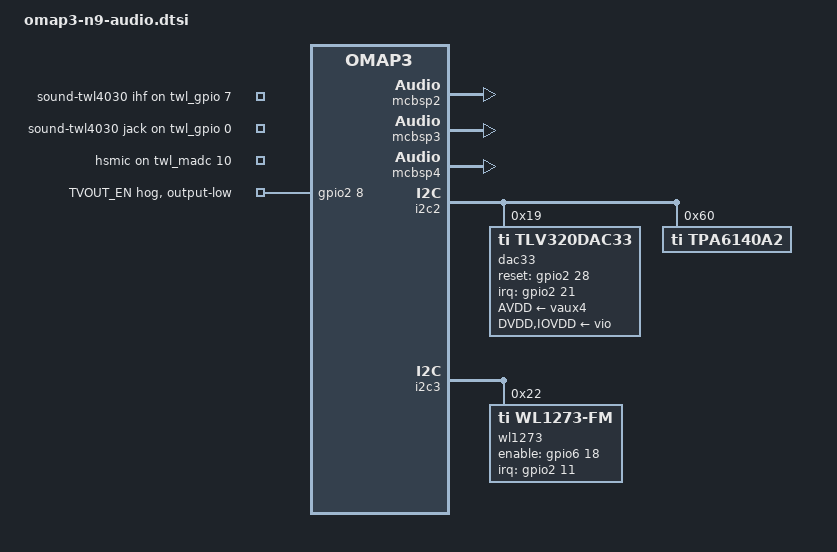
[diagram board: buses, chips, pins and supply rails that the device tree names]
// SPDX-License-Identifier: GPL-2.0-only
/*
 * The N9's audio as its stock board files had it (board-rm696-audio.c, board-rm696-peripherals.c):
 * the TWL5031's codec on McBSP3 and a TLV320DAC33 on McBSP2 into a TPA6140A2 headphone amp, and the
 * Bluetooth/FM chip's PCM on McBSP4, as the three sound cards of sound/soc/ti/dfl61.c. NOLO leaves the
 * McBSP2/3 pads and McBSP4's (on the GPMC nCS4-7 pads) in McBSP mode. The WL1273's FM radio: its
 * control on I2C3, its analog audio into the TWL5031's AUXL/AUXR, its digital audio on McBSP4.
 */

#include <dt-bindings/gpio/gpio.h>
#include <dt-bindings/interrupt-controller/irq.h>

/ {
	sound-twl4030 {
		compatible = "nokia,dfl61-twl4030";
		nokia,mcbsp = <&mcbsp3>;
		ihf-gpios = <&twl_gpio 7 GPIO_ACTIVE_HIGH>;	/* the IHF speaker's amp */
		jack-gpios = <&twl_gpio 0 GPIO_ACTIVE_HIGH>;	/* AvPlugDet: high when plugged */
		io-channels = <&twl_madc 10>;			/* ADCIN10: the headset mic line */
		io-channel-names = "hsmic";
	};

	sound-dac33 {
		compatible = "nokia,dfl61-dac33";
		nokia,mcbsp = <&mcbsp2>;
		nokia,audio-codec = <&dac33>;
		nokia,headphone-amplifier = <&tpa6140a2>;
	};

	sound-bt {
		compatible = "nokia,dfl61-wl1273";
		nokia,mcbsp = <&mcbsp4>;
		nokia,audio-codec = <&wl1273>;	/* its codec child */
	};
};

/* The AV jack in audio mode (TVOUT_EN low), as Nokia's twl5031-aci set it at probe */
&gpio2 {
	tvout-en-hog {
		gpio-hog;
		gpios = <8 GPIO_ACTIVE_HIGH>;	/* gpio 40 */
		output-low;
		line-name = "TVOUT_EN";
	};
};

&mcbsp2 {
	status = "okay";
};

&mcbsp3 {
	status = "okay";
};

&mcbsp4 {
	status = "okay";
};

&twl {
	twl_audio: audio {
		compatible = "ti,twl4030-audio";

		codec {
			ti,ramp_delay_value = <2>;
			ti,offset_cncl_path = <0x20>;	/* ARX2 */
		};
	};
};

&i2c2 {
	dac33: codec@19 {
		compatible = "ti,tlv320dac33";
		reg = <0x19>;
		reset-gpios = <&gpio2 28 GPIO_ACTIVE_HIGH>;			/* gpio 60, powers it */
		interrupts-extended = <&gpio2 21 IRQ_TYPE_EDGE_RISING>;	/* gpio 53 */
		ti,burst-bclkdiv = <3>;	/* FIFO modes: bursts at 16.384 MHz BCLK */
		ti,keep-bclk;		/* and BCLK on between them */
		AVDD-supply = <&vaux4>;
		DVDD-supply = <&vio>;
		IOVDD-supply = <&vio>;
		#sound-dai-cells = <0>;
	};

	/* AVdd straight from the battery */
	tpa6140a2: amplifier@60 {
		compatible = "ti,tpa6140a2";
		reg = <0x60>;
		sound-name-prefix = "TPA6140A2";
	};
};

/*
 * The WL1273's FM part, as stock's board-rm696-peripherals.c had it: I2C3 0x22, its interrupt on
 * GPIO 43, its enable (stock's "reset") on GPIO 178 from board revision S1.1 on (GPIO 179 before,
 * whose pad the vibra's McSPI2 data took). As stock, no pinmux here: the pads stay as NOLO set them.
 */
&i2c3 {
	wl1273: fm@22 {
		compatible = "ti,wl1273-fm";
		reg = <0x22>;
		interrupts-extended = <&gpio2 11 IRQ_TYPE_EDGE_FALLING>;	/* gpio 43 */
		enable-gpios = <&gpio6 18 GPIO_ACTIVE_HIGH>;			/* gpio 178 */
	};
};
